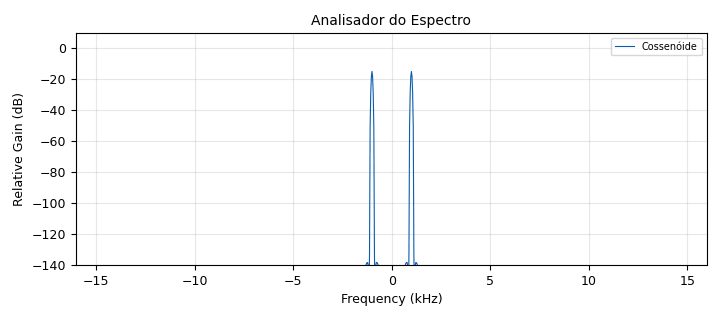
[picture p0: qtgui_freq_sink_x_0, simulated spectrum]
options:
  parameters:
    generate_options: qt_gui
    id: Exp00_AR03
    output_language: python
    title: AR03
  states: {}

blocks:
- name: Amplitude
  id: variable_qtgui_range
  parameters:
    gui_hint: (13,1,1,2)
    orient: Qt.Horizontal
    start: '0'
    step: '0.1'
    stop: '5'
    value: '1'
  states: {}
- name: Freq
  id: variable_qtgui_range
  parameters:
    gui_hint: (14,1,1,2)
    orient: Qt.Horizontal
    start: '0'
    step: '100'
    stop: '16000'
    value: '1000'
  states: {}
- name: offset
  id: variable_qtgui_range
  parameters:
    gui_hint: (15,1,1,2)
    orient: Qt.Horizontal
    start: '-2'
    step: '0.1'
    stop: '2'
    value: '0'
  states: {}
- name: samp_rate
  id: variable
  parameters:
    value: '32000'
  states: {}
- name: analog_sig_source_x_0
  id: analog_sig_source_x
  parameters:
    amp: Amplitude
    freq: Freq
    offset: offset
    phase: '0'
    samp_rate: samp_rate
    type: float
    waveform: analog.GR_COS_WAVE
  states: {}
- name: blocks_throttle_0
  id: blocks_throttle
  parameters:
    samples_per_second: samp_rate
    type: float
  states: {}
- name: qtgui_freq_sink_x_0
  id: qtgui_freq_sink_x
  parameters:
    bw: samp_rate
    ctrlpanel: 'True'
    fc: '0'
    fftsize: '1024'
    grid: 'True'
    gui_hint: (1,1,12,2)
    label1: Cossenóide
    name: '"Analisador do Espectro"'
    tr_mode: qtgui.TRIG_MODE_AUTO
    type: float
    wintype: firdes.WIN_BLACKMAN_hARRIS
  states: {}
- name: qtgui_time_sink_x_0
  id: qtgui_time_sink_x
  parameters:
    ctrlpanel: 'True'
    grid: 'True'
    gui_hint: (1,1,12,1)
    label1: Cossenóide
    name: Osciloscópio
    size: '1024'
    srate: samp_rate
    tr_mode: qtgui.TRIG_MODE_AUTO
    type: float
    yunit: '"V"'
  states: {state: disabled}

connections:
- [analog_sig_source_x_0, '0', blocks_throttle_0, '0']
- [blocks_throttle_0, '0', qtgui_freq_sink_x_0, '0']
- [blocks_throttle_0, '0', qtgui_time_sink_x_0, '0']

metadata:
  file_format: 1
